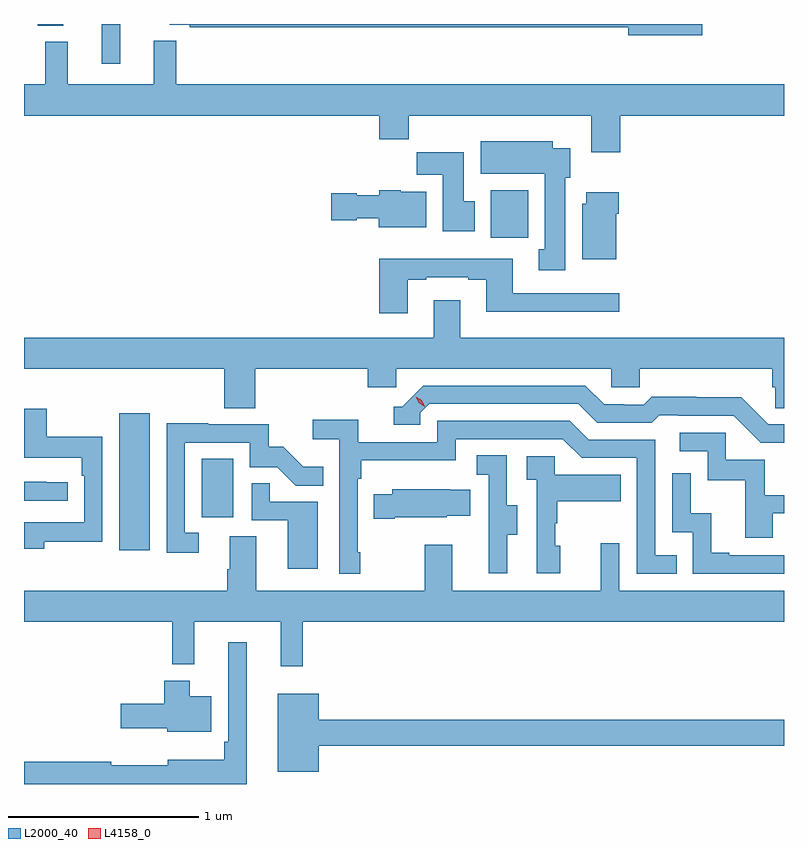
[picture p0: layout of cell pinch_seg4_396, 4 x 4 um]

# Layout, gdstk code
import gdstk
lib = gdstk.Library(unit=1e-6, precision=1e-09)
def R(c, l, rs):  # rectangles x0, y0, x1, y1
    for r in rs: c.add(gdstk.rectangle(r[:2], r[2:], *l))
def P(c, l, *ps):  # polygons
    for p in ps: c.add(gdstk.Polygon(p, *l))
L2000_40 = (2000, 40)
L4158_0 = (4158, 0)

pinch_seg4_396 = lib.new_cell('pinch_seg4_396')
R(pinch_seg4_396, L2000_40, [(974.297,779.88,974.458,780.601), (974.732,780.054,974.896,780.361), (976.253,781.524,976.449,781.774), (974.205,782.442,974.302,782.65), (973.868,782.642,974.002,782.65)])
P(pinch_seg4_396, L2000_40, [(977.365,782.65),(974.564,782.65),(974.564,782.646),(974.668,782.646),(974.668,782.634),(976.976,782.634),(976.976,782.591),(977.365,782.591)],
  [(976.934,782.168),(977.796,782.168),(977.796,782.332),(974.597,782.332),(974.597,782.561),(974.48,782.561),(974.48,782.332),(974.027,782.332),(974.027,782.557),(973.909,782.557),(973.909,782.332),(973.796,782.332),(973.796,782.168),(975.665,782.168),(975.665,782.044),(975.821,782.044),(975.821,782.168),(976.781,782.168),(976.781,781.974),(976.934,781.974)],
  [(976.645,781.842),(976.672,781.842),(976.672,781.996),(976.579,781.996),(976.579,782.032),(976.199,782.032),(976.199,781.862),(976.538,781.862),(976.538,781.465),(976.505,781.465),(976.505,781.353),(976.645,781.353)],
  [(976.168,781.716),(976.111,781.716),(976.111,781.974),(975.862,781.974),(975.862,781.856),(976.001,781.856),(976.001,781.56),(976.168,781.56)],
  [(975.913,781.768),(975.78,781.768),(975.78,781.774),(975.666,781.774),(975.666,781.75),(975.546,781.75),(975.546,781.758),(975.414,781.758),(975.414,781.616),(975.546,781.616),(975.546,781.628),(975.662,781.628),(975.662,781.58),(975.913,781.58)],
  [(976.912,781.652),(976.925,781.652),(976.925,781.765),(976.754,781.765),(976.754,781.704),(976.733,781.704),(976.733,781.412),(976.912,781.412)],
  [(975.817,781.305),(975.913,781.305),(975.913,781.317),(976.133,781.317),(976.133,781.305),(976.229,781.305),(976.229,781.136),(976.93,781.136),(976.93,781.233),(976.369,781.233),(976.369,781.414),(975.665,781.414),(975.665,781.128),(975.817,781.128)],
  [(975.014,780.836),(975.605,780.836),(975.605,780.738),(975.756,780.738),(975.756,780.836),(976.887,780.836),(976.887,780.738),(977.037,780.738),(977.037,780.836),(977.735,780.836),(977.735,780.738),(977.749,780.738),(977.749,780.628),(977.796,780.628),(977.796,781),(976.093,781),(976.093,781.195),(975.953,781.195),(975.953,781),(973.796,781),(973.796,780.836),(974.849,780.836),(974.849,780.628),(975.014,780.628)],
  [(977.796,780.543),(977.712,780.543),(977.57,780.685),(977.334,780.685),(977.334,780.688),(977.101,780.688),(977.059,780.645),(976.956,780.645),(976.956,780.648),(976.849,780.648),(976.75,780.747),(975.897,780.747),(975.786,780.636),(975.743,780.636),(975.743,780.54),(975.882,780.54),(975.882,780.603),(975.93,780.651),(976.713,780.651),(976.812,780.552),(977.101,780.552),(977.14,780.591),(977.239,780.591),(977.239,780.588),(977.532,780.588),(977.673,780.447),(977.796,780.447)],
  [(973.903,779.926),(974.208,779.926),(974.208,780.478),(973.915,780.478),(973.915,780.624),(973.796,780.624),(973.796,780.368),(974.099,780.368),(974.099,780.272),(974.112,780.272),(974.112,780.027),(973.799,780.027),(973.799,780.028),(973.796,780.028),(973.796,779.888),(973.903,779.888)],
  [(975.565,779.869),(975.552,779.869),(975.552,780.257),(975.572,780.257),(975.572,780.353),(976.068,780.353),(976.068,780.465),(976.632,780.465),(976.731,780.366),(977.022,780.366),(977.022,779.757),(977.231,779.757),(977.231,779.853),(977.118,779.853),(977.118,780.462),(976.768,780.462),(976.669,780.561),(975.972,780.561),(975.972,780.45),(975.554,780.45),(975.554,780.566),(975.315,780.566),(975.315,780.464),(975.456,780.464),(975.456,779.757),(975.565,779.757)],
  [(974.716,779.973),(974.643,779.973),(974.643,780.447),(974.985,780.447),(974.985,780.318),(975.129,780.318),(975.227,780.22),(975.371,780.22),(975.371,780.319),(975.267,780.319),(975.16,780.426),(975.084,780.426),(975.084,780.543),(974.765,780.543),(974.765,780.548),(974.547,780.548),(974.547,779.868),(974.716,779.868)],
  [(977.737,780.075),(977.796,780.075),(977.796,780.171),(977.695,780.171),(977.695,780.357),(977.49,780.357),(977.49,780.498),(977.247,780.498),(977.247,780.402),(977.394,780.402),(977.394,780.249),(977.593,780.249),(977.593,779.946),(977.737,779.946)],
  [(976.339,779.962),(976.393,779.962),(976.393,780.117),(976.338,780.117),(976.338,780.38),(976.179,780.38),(976.179,780.277),(976.242,780.277),(976.242,779.973),(976.241,779.973),(976.241,779.76),(976.339,779.76)],
  [(976.618,779.904),(976.593,779.904),(976.593,780.023),(976.603,780.023),(976.603,780.137),(976.937,780.137),(976.937,780.277),(976.59,780.277),(976.59,780.375),(976.443,780.375),(976.443,780.251),(976.494,780.251),(976.494,779.76),(976.618,779.76)],
  [(977.796,779.853),(977.509,779.853),(977.509,779.866),(977.414,779.866),(977.414,780.074),(977.304,780.074),(977.304,780.286),(977.208,780.286),(977.208,779.976),(977.316,779.976),(977.316,779.757),(977.796,779.757)],
  [(974.026,780.237),(973.913,780.237),(973.913,780.242),(973.796,780.242),(973.796,780.141),(974.026,780.141)],
  [(975.343,780.135),(975.089,780.135),(975.089,780.233),(974.994,780.233),(974.994,780.039),(975.185,780.039),(975.185,779.784),(975.343,779.784)],
  [(975.748,780.053),(976.02,780.053),(976.02,780.062),(976.145,780.062),(976.145,780.199),(976.037,780.199),(976.037,780.202),(975.735,780.202),(975.735,780.175),(975.637,780.175),(975.637,780.046),(975.748,780.046)],
  [(975.263,779.504),(977.796,779.504),(977.796,779.668),(976.929,779.668),(976.929,779.917),(976.832,779.917),(976.832,779.668),(976.051,779.668),(976.051,779.908),(975.904,779.908),(975.904,779.668),(975.019,779.668),(975.019,779.954),(974.879,779.954),(974.879,779.78),(974.867,779.78),(974.867,779.668),(973.796,779.668),(973.796,779.504),(974.575,779.504),(974.575,779.279),(974.693,779.279),(974.693,779.504),(975.146,779.504),(975.146,779.271),(975.263,779.271)],
  [(974.968,779.395),(974.871,779.395),(974.871,778.873),(974.851,778.873),(974.851,778.777),(974.552,778.777),(974.552,778.748),(974.256,778.748),(974.256,778.766),(973.796,778.766),(973.796,778.65),(974.968,778.65)],
  [(974.782,779.113),(974.668,779.113),(974.668,779.194),(974.534,779.194),(974.534,779.073),(974.304,779.073),(974.304,778.943),(974.55,778.943),(974.55,778.925),(974.782,778.925)],
  [(975.346,778.852),(977.796,778.852),(977.796,778.988),(975.346,778.988),(975.346,779.125),(975.131,779.125),(975.131,778.715),(975.346,778.715)])
P(pinch_seg4_396, L4158_0, [(975.905,780.636),(975.874,780.656),(975.859,780.688),(975.859,780.689),(975.859,780.689),(975.889,780.669),(975.905,780.637),(975.905,780.636)])

lib.write_gds('pinch_seg4_396.gds')
